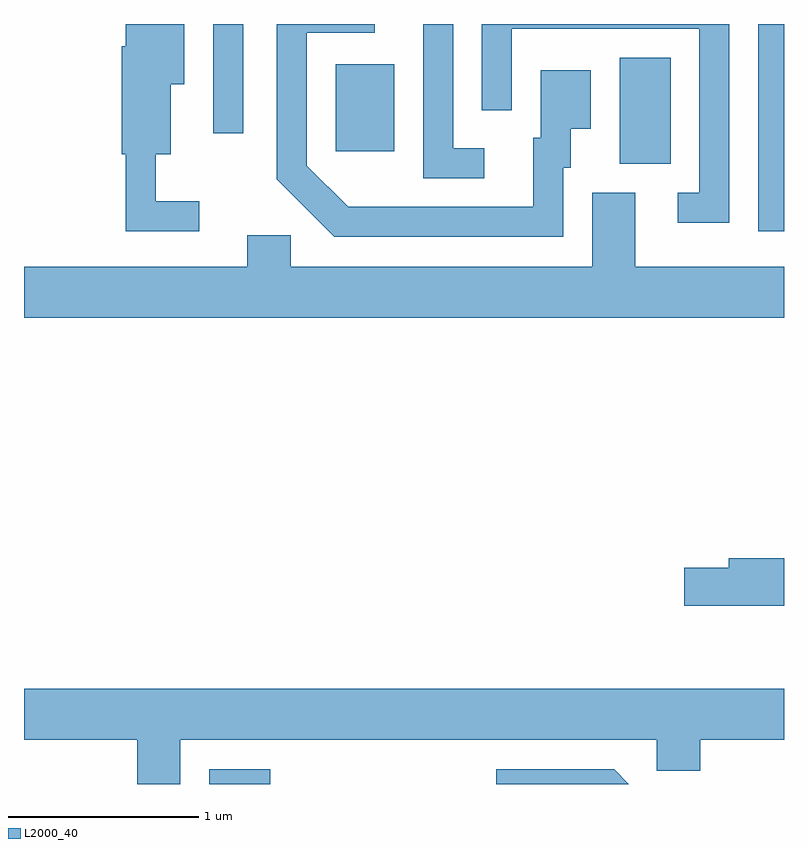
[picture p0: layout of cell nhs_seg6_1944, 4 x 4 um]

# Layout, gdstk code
import gdstk
lib = gdstk.Library(unit=1e-6, precision=1e-09)
def R(c, l, rs):  # rectangles x0, y0, x1, y1
    for r in rs: c.add(gdstk.rectangle(r[:2], r[2:], *l))
def P(c, l, *ps):  # polygons
    for p in ps: c.add(gdstk.Polygon(p, *l))
L2000_40 = (2000, 40)

nhs_seg6_1944 = lib.new_cell('nhs_seg6_1944')
R(nhs_seg6_1944, L2000_40, [(244.586,1634.162,244.908,1634.239), (247.476,1637.071,247.611,1638.162), (246.746,1637.426,247.014,1637.984), (245.251,1637.491,245.559,1637.949), (244.606,1637.588,244.764,1638.162)])
P(nhs_seg6_1944, L2000_40, [(247.324,1638.162),(246.021,1638.162),(246.021,1637.708),(246.179,1637.708),(246.179,1638.136),(247.166,1638.136),(247.166,1637.274),(247.053,1637.274),(247.053,1637.116),(247.324,1637.116)],
  [(246.449,1637.406),(246.489,1637.406),(246.489,1637.611),(246.594,1637.611),(246.594,1637.919),(246.331,1637.919),(246.331,1637.564),(246.291,1637.564),(246.291,1637.199),(245.317,1637.199),(245.099,1637.417),(245.099,1638.116),(245.458,1638.116),(245.458,1638.162),(244.941,1638.162),(244.941,1637.344),(245.244,1637.041),(246.449,1637.041)],
  [(246.033,1637.509),(245.869,1637.509),(245.869,1638.162),(245.711,1638.162),(245.711,1637.351),(246.033,1637.351)],
  [(244.533,1637.229),(244.304,1637.229),(244.304,1637.476),(244.384,1637.476),(244.384,1637.846),(244.454,1637.846),(244.454,1638.162),(244.146,1638.162),(244.146,1638.044),(244.126,1638.044),(244.126,1637.476),(244.146,1637.476),(244.146,1637.071),(244.533,1637.071)],
  [(247.611,1636.884),(246.829,1636.884),(246.829,1637.274),(246.601,1637.274),(246.601,1636.884),(245.014,1636.884),(245.014,1637.049),(244.786,1637.049),(244.786,1636.884),(243.611,1636.884),(243.611,1636.616),(247.611,1636.616)],
  [(247.611,1635.349),(247.321,1635.349),(247.321,1635.299),(247.086,1635.299),(247.086,1635.101),(247.611,1635.101)],
  [(244.434,1634.396),(246.941,1634.396),(246.941,1634.231),(247.169,1634.231),(247.169,1634.396),(247.611,1634.396),(247.611,1634.664),(243.611,1634.664),(243.611,1634.396),(244.206,1634.396),(244.206,1634.162),(244.434,1634.162)],
  [(246.717,1634.239),(246.096,1634.239),(246.096,1634.162),(246.794,1634.162)])

lib.write_gds('nhs_seg6_1944.gds')
